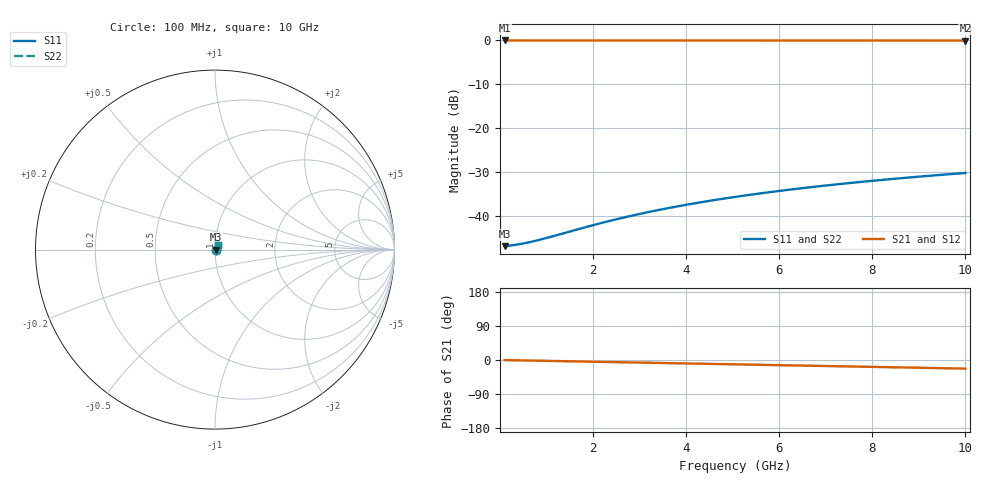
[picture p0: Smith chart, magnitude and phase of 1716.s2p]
# Hz S RI R 50.00
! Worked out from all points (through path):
!   100 points, 100 MHz to 10 GHz, reference 50 ohm
!   highest |S21| = -0.04 dB at 100 MHz (marker M1); lowest = 0.0 dB at 10 GHz (marker M2)
!   group delay of S21, straight-line fit = 6.31 ps
!   lowest |S11| = -47.0 dB at 100 MHz (marker M3), VSWR 1.01, Z = 50.4 + j0.0297 ohm
!   |S11| at or under -10 dB: start of sweep to end of sweep
!   |S22| runs from -47.0 to -30.3 dB; largest |S21 - S12| = 0
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1e8  0.00448 0.000295  0.9955 -0.00394  0.9955 -0.00394  0.00448 0.000295
3e8  0.00453 0.000883  0.9954 -0.0118  0.9954 -0.0118  0.00453 0.000883
4e8  0.00456 0.00118  0.9953 -0.0158  0.9953 -0.0158  0.00456 0.00118
5e8  0.00458 0.00147  0.9952 -0.0197  0.9952 -0.0197  0.00458 0.00147
7e8  0.00463 0.00206  0.995 -0.0276  0.995 -0.0276  0.00463 0.00206
1e9  0.00472 0.00294  0.9946 -0.0394  0.9946 -0.0394  0.00472 0.00294
1.8e9  0.00504 0.00527  0.9927 -0.0709  0.9927 -0.0709  0.00504 0.00527
2.2e9  0.00525 0.00643  0.9915 -0.0866  0.9915 -0.0866  0.00525 0.00643
2.6e9  0.00549 0.00758  0.9899 -0.1023  0.9899 -0.1023  0.00549 0.00758
3e9  0.00577 0.00872  0.9881 -0.118  0.9881 -0.118  0.00577 0.00872
3.4e9  0.00608 0.00985  0.9861 -0.1336  0.9861 -0.1336  0.00608 0.00985
3.8e9  0.00643 0.011  0.9838 -0.1492  0.9838 -0.1492  0.00643 0.011
4.2e9  0.00682 0.0121  0.9813 -0.1648  0.9813 -0.1648  0.00682 0.0121
4.6e9  0.00724 0.0132  0.9785 -0.1803  0.9785 -0.1803  0.00724 0.0132
5.1e9  0.00782 0.0145  0.9747 -0.1997  0.9747 -0.1997  0.00782 0.0145
5.5e9  0.00832 0.0156  0.9713 -0.2151  0.9713 -0.2151  0.00832 0.0156
5.9e9  0.00885 0.0166  0.9678 -0.2305  0.9678 -0.2305  0.00885 0.0166
6.7e9  0.01 0.0187  0.9599 -0.261  0.9599 -0.261  0.01 0.0187
7.5e9  0.0113 0.0206  0.951 -0.2913  0.951 -0.2913  0.0113 0.0206
8.4e9  0.0129 0.0227  0.9399 -0.325  0.9399 -0.325  0.0129 0.0227
9.2e9  0.0145 0.0245  0.929 -0.3547  0.929 -0.3547  0.0145 0.0245
1e10  0.0161 0.0261  0.9172 -0.3839  0.9172 -0.3839  0.0161 0.0261
